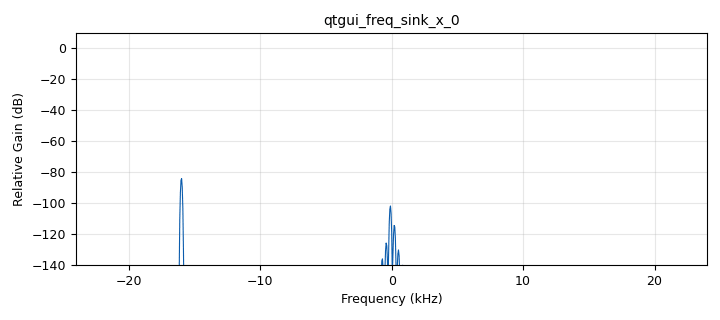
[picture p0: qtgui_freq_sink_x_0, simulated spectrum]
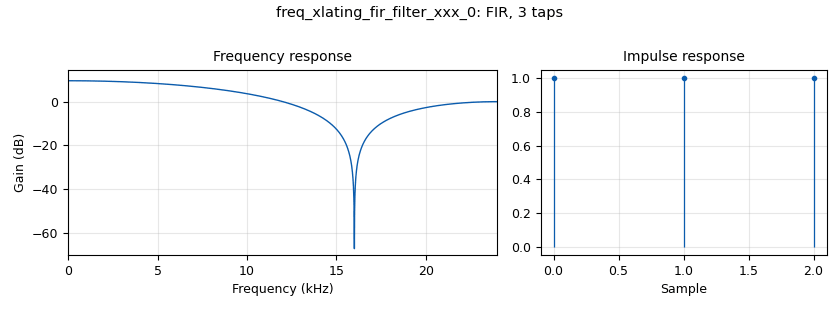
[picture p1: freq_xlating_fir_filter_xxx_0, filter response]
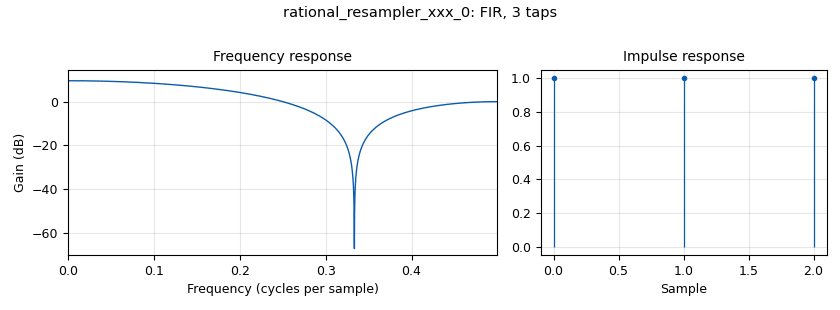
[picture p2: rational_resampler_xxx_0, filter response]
options:
  parameters:
    generate_options: qt_gui
    id: singlessb
    output_language: python
    title: Not titled yet
  states: {}

blocks:
- name: samp_rate
  id: variable
  parameters:
    value: '48000'
  states: {}
- name: analog_sig_source_x_0
  id: analog_sig_source_x
  parameters:
    amp: '1'
    freq: 1e6
    offset: '0'
    phase: '0'
    samp_rate: samp_rate
    type: complex
    waveform: analog.GR_COS_WAVE
  states: {}
- name: blocks_add_const_vxx_0
  id: blocks_add_const_vxx
  parameters:
    const: '0'
    type: complex
  states: {}
- name: blocks_multiply_const_vxx_0
  id: blocks_multiply_const_vxx
  parameters:
    const: '1'
    type: complex
  states: {}
- name: blocks_multiply_xx_0
  id: blocks_multiply_xx
  parameters:
    type: complex
  states: {}
- name: blocks_throttle2_0
  id: blocks_throttle2
  parameters:
    samples_per_second: samp_rate
    type: complex
  states: {}
- name: freq_xlating_fir_filter_xxx_0
  id: freq_xlating_fir_filter_xxx
  parameters:
    center_freq: '0.0'
    decim: '1'
    samp_rate: samp_rate
    taps: '[1+0j, 1+0j, 1+0j]'
    type: ccc
  states: {}
- name: qtgui_freq_sink_x_0
  id: qtgui_freq_sink_x
  parameters:
    bw: samp_rate
    fc: '0'
    fftsize: '1024'
    type: complex
  states: {}
- name: rational_resampler_xxx_0
  id: rational_resampler_xxx
  parameters:
    decim: '1'
    interp: '1'
    taps: '[1, 1, 1]'
    type: ccc
  states: {}

connections:
- [analog_sig_source_x_0, '0', blocks_multiply_const_vxx_0, '0']
- [blocks_add_const_vxx_0, '0', blocks_throttle2_0, '0']
- [blocks_multiply_const_vxx_0, '0', freq_xlating_fir_filter_xxx_0, '0']
- [blocks_multiply_xx_0, '0', rational_resampler_xxx_0, '0']
- [blocks_throttle2_0, '0', blocks_multiply_xx_0, '0']
- [blocks_throttle2_0, '0', blocks_multiply_xx_0, '1']
- [freq_xlating_fir_filter_xxx_0, '0', blocks_add_const_vxx_0, '0']
- [rational_resampler_xxx_0, '0', qtgui_freq_sink_x_0, '0']

metadata:
  file_format: 1
  grc_version: 3.10.9.2
